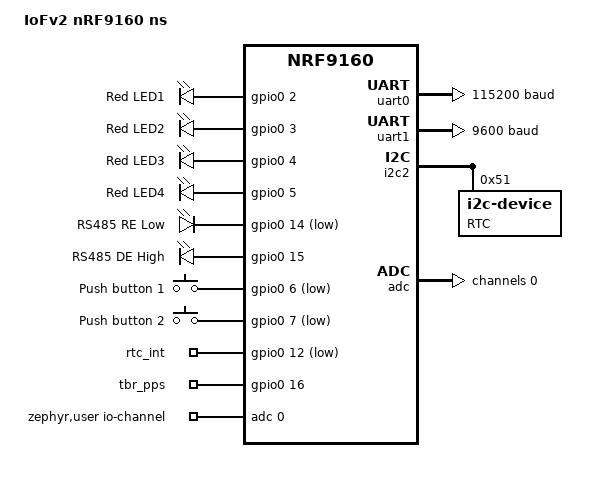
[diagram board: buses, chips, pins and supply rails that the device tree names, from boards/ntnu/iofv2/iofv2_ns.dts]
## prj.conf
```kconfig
# Logging

# Core logging
CONFIG_LOG=y
CONFIG_CONSOLE=y
CONFIG_RTT_CONSOLE=n
CONFIG_PRINTK=y
CONFIG_LOG_DEFAULT_LEVEL=3

# Route logs to SEGGER RTT or UART
CONFIG_USE_SEGGER_RTT=n
CONFIG_LOG_BACKEND_RTT=n

# UART logs 
CONFIG_LOG_BACKEND_UART=y
CONFIG_UART_CONSOLE=y

# Turn serial into modem at command bridge (enable AT commands from serial terminal)
CONFIG_AT_HOST_LIBRARY=y


#
## # Button and LED support
#CONFIG_DK_LIBRARY=y

# Newlib
CONFIG_NEWLIB_LIBC=y

# Networking
CONFIG_NETWORKING=y
CONFIG_NET_NATIVE=n
CONFIG_NET_SOCKETS=y
CONFIG_NET_SOCKETS_OFFLOAD=y
CONFIG_POSIX_API=y

# Memory
CONFIG_MAIN_STACK_SIZE=8192
CONFIG_HEAP_MEM_POOL_SIZE=4096
CONFIG_THREAD_NAME=y
CONFIG_SYSTEM_WORKQUEUE_STACK_SIZE=4096

#i2c
CONFIG_I2C=y

# Modem library
CONFIG_NRF_MODEM_LIB=y

# LTE link control
CONFIG_LTE_LINK_CONTROL=y
CONFIG_LTE_NETWORK_MODE_LTE_M_NBIOT_GPS=y 

# MQTT
CONFIG_MQTT_LIB=y
CONFIG_MQTT_CLEAN_SESSION=y
#secure MQTT
CONFIG_MQTT_LIB_TLS=y
CONFIG_MODEM_KEY_MGMT=y

# Application
CONFIG_MQTT_PUB_TOPIC="p/IoF_demo"
CONFIG_MQTT_SUB_TOPIC="s/IoF_demo"
CONFIG_MQTT_BROKER_HOSTNAME="mqtt.nordicsemi.academy"
CONFIG_MQTT_BROKER_PORT=8883

# Request PSM periodic TAU and active time
CONFIG_LTE_LC_PSM_MODULE=y
CONFIG_LTE_PSM_REQ=y
CONFIG_LTE_PSM_REQ_RPTAU="00100010" #2hours
CONFIG_LTE_PSM_REQ_RAT="00000010" #4seconds
CONFIG_LTE_LC_MODEM_SLEEP_MODULE=y


## Enable the modem’s network mode for GPS
##########################CONFIG_LTE_NETWORK_MODE_LTE_M_NBIOT_GPS=y #defaults to LTE_M as priority
CONFIG_GNSS_PERIODIC_INTERVAL=140
CONFIG_GNSS_PERIODIC_TIMEOUT=3600
##enable printing floating-point numbers to console.
CONFIG_NEWLIB_LIBC_FLOAT_PRINTF=y
CONFIG_FPU=y

#CHAT
CONFIG_CBPRINTF_FP_SUPPORT=y

# GNSS Antenna
CONFIG_MODEM_ANTENNA=y
CONFIG_MODEM_ANTENNA_AT_COEX0="AT\%XCOEX0=1,1,1570,1580"

# enable AGNSS
CONFIG_NRF_CLOUD=y
CONFIG_MODEM_INFO=y
CONFIG_MODEM_INFO_ADD_NETWORK=y
CONFIG_NRF_CLOUD_AGNSS=y
CONFIG_NRF_CLOUD_REST=y
CONFIG_MODEM_JWT=y
CONFIG_NRF_CLOUD_REST_AUTOGEN_JWT=n

# Select Cloud Client ID. UUID is not used because the device is already added to nrf cloud by a previous user. (and a device can only be registered by one user at a time)
#CONFIG_NRF_CLOUD_CLIENT_ID_SRC_IMEI=n
#CONFIG_NRF_CLOUD_CLIENT_ID_SRC_INTERNAL_UUID=y # Not used but reccomended for new/unregistred devices.
CONFIG_NRF_CLOUD_CLIENT_ID_SRC_COMPILE_TIME=y   # Uses iof-nb-buoy-01 ad ID instead of UUID
CONFIG_NRF_CLOUD_CLIENT_ID="iof-nb-buoy-01"     # The ID registred to nrf Cloud
CONFIG_NRF_CLOUD_SEC_TAG=16842753


CONFIG_NRF_CLOUD_GPS_LOG_LEVEL_DBG=y
CONFIG_NRF_CLOUD_LOG_LEVEL_DBG=y
CONFIG_DATE_TIME=y
CONFIG_DATE_TIME_MODEM=y
CONFIG_DATE_TIME_NTP=y

# TODO: chat want to add this: CONFIG_NET_SOCKETS_SOCKOPT_TLS=y
# and this:  CONFIG_TLS_CREDENTIALS=y



##DEBUG
#CONFIG_DEBUG_OPTIMIZATIONS=y
#CONFIG_DEBUG_THREAD_INFO=y
#
CONFIG_SERIAL=y
CONFIG_UART_INTERRUPT_DRIVEN=y

CONFIG_ADC=y

#CONFIG_SYS_HEAP_RUNTIME_STATS=y



CONFIG_BOOT_BANNER=n
CONFIG_REBOOT=y


#CONFIG_HWINFO=y
#CONFIG_WATCHDOG=y

CONFIG_NRF_MODEM_LIB_ON_FAULT_APPLICATION_SPECIFIC=y
## CONFIG_NRF_MODEM_LIB_ON_FAULT_RESET_MODEM=y


#CONFIG_THREAD_ANALYZER=y
#CONFIG_THREAD_ANALYZER_AUTO=y

CONFIG_PM_DEVICE=y
## CONFIG_PM_DEVICE_SYSTEM_MANAGED=y
#CONFIG_LOG_BUFFER_SIZE=10240
```

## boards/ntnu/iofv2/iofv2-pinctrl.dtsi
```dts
&pinctrl {


	uart0_default: uart0_default {
		group1 {
			psels = <NRF_PSEL(UART_TX, 0, 29)>;
		};
        group2 {
            psels = <NRF_PSEL(UART_RX, 0, 28)>;
        };

	};
	/* required if CONFIG_PM_DEVICE=y */
	uart0_sleep: uart0_sleep {
		group1 {
			psels = <NRF_PSEL(UART_TX, 0, 29)>,
					<NRF_PSEL(UART_RX, 0, 28)>;
			low-power-enable;
		};
	};

	uart1_default: uart1_default {
		group1 {
			psels = <NRF_PSEL(UART_TX, 0, 1)>;
		};
        group2 {
            psels = <NRF_PSEL(UART_RX, 0, 0)>;
        };
	};

	uart1_sleep: uart1_sleep {
		group1 {
			psels = <NRF_PSEL(UART_TX, 0, 1)>,
					<NRF_PSEL(UART_RX, 0, 0)>;
			low-power-enable;
		};
	};

	i2c2_default: i2c2_default {
		group1 {
			psels = <NRF_PSEL(TWIM_SCL, 0, 31)>, <NRF_PSEL(TWIM_SDA, 0, 30)>;
		};
	};

	i2c2_sleep: i2c2_sleep {
		group1 {
			psels = <NRF_PSEL(TWIM_SCL, 0, 31)>, 
					<NRF_PSEL(TWIM_SDA, 0, 30)>;
			low-power-enable;
		};
	};
};
```

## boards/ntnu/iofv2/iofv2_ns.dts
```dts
/dts-v1/;
#include <nordic/nrf9160ns_sica.dtsi>
#include "iofv2-pinctrl.dtsi"
/ {
	model = "IoFv2 nRF9160 ns";
	compatible = "ntnu-cybernetics,iofv2-nrf9160-ns";

	chosen {
		zephyr,flash = &flash0;
		zephyr,console = &uart0;
		zephyr,shell-uart = &uart0;
		zephyr,uart-mcumgr = &uart0;
	};

	leds {
		compatible = "gpio-leds";
		led1: led_1 {
			gpios = <&gpio0 2 0>;
			label = "Red LED1";
		};

		led2: led_2 {
			gpios = <&gpio0 3 0>;
			label = "Red LED2";
		};

		led3: led_3 {
			gpios = <&gpio0 4 0>;
			label = "Red LED3";
		};

		led4: led_4 {
			gpios = <&gpio0 5 0>;
			label = "Red LED4";
		};
	};

	rs485_ctrl: rs485_ctrl { 
		compatible = "gpio-leds"; 
		re_low_pin: re_low_pin { 
			gpios = <&gpio0 14 (GPIO_ACTIVE_LOW | GPIO_PULL_UP)>; 
			label = "RS485 RE Low"; 
		}; 
		de_high_pin: de_high_pin { 
			gpios = <&gpio0 15 (GPIO_ACTIVE_HIGH | GPIO_PULL_DOWN)>; 
			label = "RS485 DE High"; 
		}; 
	};

	buttons {
		compatible = "gpio-keys";
		button1: button_1 {
			gpios = <&gpio0 6 (GPIO_ACTIVE_LOW | GPIO_PULL_UP)>;
			label = "Push button 1";
		};

		button2: button_2 {
			gpios = <&gpio0 7 (GPIO_ACTIVE_LOW | GPIO_PULL_UP)>;
			label = "Push button 2";
		};
	};

	rtc {
		compatible = "gpio-keys";
		rtc_int: rtc_int_pin {
			gpios = <&gpio0 12 GPIO_ACTIVE_LOW>;
			label = "rtc_int";
    	};

		tbr_pps: tbr_pps_pin {
			gpios = <&gpio0 16 GPIO_ACTIVE_HIGH>;	// TODO: double check if active high or low!
			label = "tbr_pps";
		};

	};



	aliases {
		led0 = &led1;
		led1 = &led2;
		led2 = &led3;
		led3 = &led4;
		sw0  = &button1;
		sw1  = &button2;
		dehighpin = &de_high_pin;
		relowpin = &re_low_pin;
		bootloader-led0 = &led1;
		mcuboot-button0 = &button1;
		mcuboot-led0 = &led1;
		watchdog0 = &wdt0;
		nintpinlow = &rtc_int;
        tbrppspin  = &tbr_pps;
	};

	zephyr,user {
		io-channels = <&adc 0>;
	};
};

// TODO Look at partition and MCUboot. Is static partition needed? Is it possible to update code thorugh USB instead of SEGGER? 

&gpio0 {
	status = "okay";
};

&gpiote {
	status = "okay";
};


&uart0 {
	status = "okay";
	pinctrl-0 = <&uart0_default>;
	pinctrl-1 = <&uart0_sleep>;
	pinctrl-names = "default", "sleep";
	current-speed = <115200>;
	label = "USB Uart debug";
};

&uart1 {
	status = "okay";
	pinctrl-0 = <&uart1_default>;
	pinctrl-1 = <&uart1_sleep>;
	pinctrl-names = "default", "sleep";
	current-speed = <9600>;
	parity = "none";
	/* Flow control is off by default; keep 8N1 as per TBR Live docs. */
};

&i2c2 {
	status = "okay";
	pinctrl-0 = <&i2c2_default>;
	pinctrl-1 = <&i2c2_sleep>;
	pinctrl-names = "default", "sleep";
	label = "I2C RTC RV3032";

	rv3032: rv3032@51{
        compatible = "i2c-device";
        reg = < 0x51 >;
        label = "RTC";
    };
};

&adc {
	#address-cells = <1>;
	#size-cells = <0>;
	status = "okay";
	channel@0 {
		reg = <0>;
		zephyr,gain = "ADC_GAIN_1_6";
		zephyr,reference = "ADC_REF_INTERNAL";
		zephyr,acquisition-time = <ADC_ACQ_TIME_DEFAULT>;
		zephyr,input-positive = <NRF_SAADC_AIN0>; /* P0.13 */
		zephyr,resolution = <12>;
	};
};
```

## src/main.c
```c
/*
* FishIoT Main Application
* MCU:nRF9160
*
* Author: Tsotne Karchava
* Created: 10.10.2023
*/
#include <nrf_modem_at.h>
#include <zephyr/logging/log.h>
#include <zephyr/kernel.h>
#include <date_time.h>
#include <zephyr/sys/reboot.h>
//LTE
#include <modem/nrf_modem_lib.h>
#include <modem/lte_lc.h>

#include "leds.h"
#include "adc.h"
#include "rtc.h"
#include "structs.h"
#include "rs485_task.h"
#include "mqtt_task.h"
#include "gnss_task.h"
#include "rtc_task.h"
#include "tbr_sync_task.h"
//// #include <zephyr/debug/thread_analyzer.h>

#define STACKSIZE 2048
#define MQTT_THREAD_PRIORITY 9
#define RTC_THREAD_PRIORITY 7
#define RS485_THREAD_PRIORITY 6
#define GNSS_THREAD_PRIORITY 8
#define TBR_SYNC_THREAD_PRIORITY 5
#define GNSS_START_PERIOD_THREAD_PRIORITY 4

//fault handling
#define MODEM_FAULT_THREAD_PRIORITY 2

bool RTC_TIME_SET = false;


LOG_MODULE_REGISTER(FishIoT, LOG_LEVEL_INF);

K_MSGQ_DEFINE(IoFHEADER_MSG, sizeof(IoF_header), 32, sizeof(uint32_t));
K_MSGQ_DEFINE(IoFTBR_Status_MSG, sizeof(IoF_TBR_status), 16, sizeof(uint32_t));
K_MSGQ_DEFINE(IoFTBR_TAG_MSG, sizeof(IoF_TBR_tag), 16, sizeof(uint32_t));
K_MSGQ_DEFINE(IoFBuoy_Status_MSG, sizeof(IoF_bouy_status), 16, sizeof(uint32_t));


//semaphores
K_SEM_DEFINE(modem_fault_sem, 0, 1);
static K_SEM_DEFINE(lte_connected, 0, 1);
static K_SEM_DEFINE(time_sem, 0, 1);
static K_SEM_DEFINE(time_read_sem, 0, 1);

K_SEM_DEFINE(gnss_start_sem, 0, 1);

// K_SEM_DEFINE(rtc_write_fix_sem, 0, 1);
K_SEM_DEFINE(rtc_esyn_sem, 0, 1);

K_SEM_DEFINE(gnss_thread_sem, 0 , 1);

K_SEM_DEFINE(mqtt_pub_sem, 0, 1);
K_SEM_DEFINE(mqtt_pub_thread_start, 0, 1);
K_SEM_DEFINE(mqtt_pub_done_sem, 0, 1);

//fault
K_SEM_DEFINE(block_mqtt_on_fault_sem, 0, 1);


K_SEM_DEFINE(mqtt_lock_mutex, 0, 1);
K_SEM_DEFINE(gnss_lock_mutex, 0, 1);
uint16_t TBSN; //tbr serial number

//thread definitions
K_THREAD_STACK_DEFINE(mqtt_thread_id, STACKSIZE);
K_THREAD_STACK_DEFINE(rtc_thread_id, STACKSIZE);
K_THREAD_STACK_DEFINE(rs485_thread_id, STACKSIZE);
K_THREAD_STACK_DEFINE(gnss_thread_id, STACKSIZE);
K_THREAD_STACK_DEFINE(tbr_sync_thread_id, STACKSIZE/2);
K_THREAD_STACK_DEFINE(gnss_start_period_thread_id, STACKSIZE/4);

//fault hanlding
K_THREAD_STACK_DEFINE(modem_fault_thread_id, STACKSIZE);



struct k_thread mqtt_pub_thread_struct;
struct k_thread rtc_thread_struct;
struct k_thread rs485_thread_struct;
struct k_thread gnss_thread_struct;
struct k_thread tbr_sync_thread_struct;
struct k_thread gnss_start_period_thread_struct;

//fault hanlding
struct k_thread modem_fault_thread_struct;


k_tid_t rtc_thread_tid;
k_tid_t gnss_thread_tid;
k_tid_t mqtt_thread_tid;
k_tid_t tbr_sync_thread_tid;
k_tid_t gnss_start_period_thread_tid;


static void date_time_evt_handler(const struct date_time_evt *evt)
{
	k_sem_give(&time_sem);
}

static void lte_handler(const struct lte_lc_evt *const evt)
{
     switch (evt->type) {
     case LTE_LC_EVT_NW_REG_STATUS:
        if ((evt->nw_reg_status != LTE_LC_NW_REG_REGISTERED_HOME) &&
            (evt->nw_reg_status != LTE_LC_NW_REG_REGISTERED_ROAMING)) {
            break;
        }
		LOG_INF("Network registration status: %s",
				evt->nw_reg_status == LTE_LC_NW_REG_REGISTERED_HOME ?
				"Connected - home network" : "Connected - roaming");
		k_sem_give(&lte_connected);
        break;
	case LTE_LC_EVT_RRC_UPDATE:
		LOG_INF("RRC mode: %s", evt->rrc_mode == LTE_LC_RRC_MODE_CONNECTED ?
				"Connected" : "Idle");
		if(evt->rrc_mode == LTE_LC_RRC_MODE_IDLE){
			if(!first_fix)
				k_sem_give(&gnss_start_sem);
			k_sem_give(&gnss_lock_mutex);
			// k_sem_give(&mqtt_lock_mutex);
		}
		break;
	case LTE_LC_EVT_PSM_UPDATE:
		LOG_INF("PSM parameter update: TAU: %d, Active time: %d",
			evt->psm_cfg.tau, evt->psm_cfg.active_time);
		if (evt->psm_cfg.active_time == -1){
			LOG_ERR("Network rejected PSM parameters. Failed to enable PSM");
		}	
		break;
	case LTE_LC_EVT_MODEM_SLEEP_EXIT:
		LOG_INF("Modem exited from sleep.");
		break;
	case LTE_LC_EVT_MODEM_SLEEP_ENTER:
		LOG_INF("Modem entered sleep.");
		break;
     default:
        break;
     }
}

bool modem_fault = false;

static void restart_on_fault(void *p1, void *p2, void *p3)
{
	while(true)
	{
		k_sem_take(&modem_fault_sem, K_FOREVER);
		//thread_analyzer_print();
	  	//sys_reboot(SYS_REBOOT_COLD);
       //  k_yield();
		LOG_ERR("REINITALIZING MODEM!\n");
		(void)nrf_modem_lib_shutdown();
        LOG_INF("MODEM SHUTDOWN OK\n");
		k_sleep(K_MSEC(500));

		int err = nrf_modem_lib_init();
	    if (err) {
		LOG_ERR("failed to initialize modem library, error: %d", err);
		}

        // LOG_INF("MODEM INIT OK\n");
		// /* lte_lc_init deprecated in >= v2.6.0 */
		// #if NCS_VERSION_NUMBER < 0x20600
		// err = lte_lc_init();
		// if (err) {
		// 	LOG_ERR("Failed to initialize LTE link control library, error: %d", err);
		// }
		// #endif
        // LOG_INF("MODEM LC INIT OK\n");
		// //enable PSM
		// err = lte_lc_psm_req(true);
		// if (err) {
		// 	LOG_ERR("lte_lc_psm_req, error: %d", err);
		// }

		// LOG_INF("Connecting to LTE network");

		// // lte_lc_register_handler(lte_handler);

		// if (lte_lc_connect() != 0) {
		// 	LED_ERROR_CODE(LTE_NETWORK_CONNECT_ERROR);
		// 	LOG_ERR("Failed to connect to LTE network");
		// }

		// if (lte_lc_func_mode_set(LTE_LC_FUNC_MODE_NORMAL) != 0) {
		// LOG_ERR("Failed to activate GNSS functional mode");
		// }

		k_sem_give(&block_mqtt_on_fault_sem);
	}
}

void nrf_modem_fault_handler(struct nrf_modem_fault_info *fault_info){
	LOG_ERR("NRFMODEM FAULT HANDLER, ERROR: %d\n", fault_info->reason);
	//restart the modem
	if(fault_info->reason == NRF_MODEM_FAULT_PANIC)
	{
		modem_fault = true;
		k_sem_give(&modem_fault_sem);
	}
}

static int modem_configure(void)
{
	int err;

	LOG_INF("Initializing modem library");
	
	err = nrf_modem_lib_init();
	if (err) {
		LOG_ERR("Failed to initialize the modem library, error: %d", err);
		return err;
	}

	
	#if(CONFIG_MQTT_LIB_TLS)
	/*  Store the certificate in the modem while the modem is in offline mode  */
	err = certificate_provision();
	if (err != 0) {
		LOG_ERR("Failed to provision certificates");
		return 1;
	}
	#endif

	//enable PSM
	err = lte_lc_psm_req(true);
	if (err) {
		LOG_ERR("lte_lc_psm_req, error: %d", err);
	}

	LOG_INF("Connecting to LTE network");

	lte_lc_register_handler(lte_handler);

	if (lte_lc_connect() != 0) {
		LED_ERROR_CODE(LTE_NETWORK_CONNECT_ERROR);
		LOG_ERR("Failed to connect to LTE network");
		return 1;
	}

	LOG_INF("Connected to LTE network");
	err = date_time_update_async(date_time_evt_handler);
	if(err){
		LOG_ERR("Date time update handler failed");
	}	
	LOG_INF("Waiting for current time");	
	/* Wait for an event from the Date Time library. */
	k_sem_take(&time_sem, K_MINUTES(1));
		
	if (!date_time_is_valid()) {
		LOG_WRN("Failed to get current time, continuing anyway");
		//date time couldn't be receieved under 1 minute or it is wrong.
	}

	LOG_INF("Received current time successfully!");
	return 0;
}


// void thread_analyzer_cb(struct thread_analyzer_info *info){
	
// }



int main(void)
{
	int err;
	
  	// thread_analyzer_run(thread_analyzer_cb);
	// thread_analyzer_print();
	LOG_INF("Starting Application IoF...\n");
	// k_mutex_lock(&mqtt_lock_mutex, K_FOREVER);	
	if(led_button_init() != 0){
		LOG_ERR("Failed to initialize LED and Buttons");
		return 1;
	}
	
	if(rtc_init()!=0){
		LOG_ERR("Failed to initialize RTC\n");
		LED_ERROR_CODE(RTC_INIT_ERROR);
		LOG_INF("Waiting for 1 minute before restarting the chip\n");
		k_busy_wait(1*1000*1000*60);
		sys_reboot(SYS_REBOOT_COLD);
		return 1;
	}
	
	if(adc_init()!=0){
		LOG_ERR("Failed to initialize ADC");
		LED_ERROR_CODE(ADC_INIT_ERROR);
		LOG_INF("Waiting for 1 minute before restarting the chip\n");
		k_busy_wait(1*1000*1000*60);
		sys_reboot(SYS_REBOOT_COLD);
		return 1;
	}

	LOG_INF("Enabling modem...\n");
	err = modem_configure();
	if (err) {
		LOG_ERR("Failed to configure the modem");
		LOG_INF("Waiting for 1 minute before restarting the chip\n");
		k_busy_wait(1*1000*1000*60);
		sys_reboot(SYS_REBOOT_WARM);
		return 1;
	}

	// k_sem_give(&mqtt_pub_thread_start);
	mqtt_thread_tid = k_thread_create(&mqtt_pub_thread_struct, mqtt_thread_id, K_THREAD_STACK_SIZEOF(mqtt_thread_id), mqtt_thread, NULL,NULL,NULL, MQTT_THREAD_PRIORITY, 0, K_NO_WAIT);

	err = rs485_init();
	if(err){
		LOG_ERR("Failed to initialize RS485 - TBRLIVE");
		LED_ERROR_CODE(RS485_INIT_ERROR);
		LOG_INF("Waiting for 1 minute before restarting the chip\n");
		k_busy_wait(1*1000*1000*60);
		sys_reboot(SYS_REBOOT_COLD);
		return 1;
	}
	
	//if Time is valid then update TBR live enoch time.
	uint64_t unix_time_ms;
	/*Read current time and put in container */
	err = date_time_now(&unix_time_ms);
	//write enoch time to TBRLive
	err = rs485_updatetime(unix_time_ms);
	if(err != 0){
		LOG_ERR("Couldn't update RS485 time...\n");
	}	
	
	err = gnss_task_agps_process_start();
	if (err != 0)
	{
		LOG_INF("Waiting for 1 minute before restarting the chip\n");
		k_busy_wait(1*1000*1000*60);
 		sys_reboot(SYS_REBOOT_COLD);
	}
	
	//fault handling
	k_tid_t modem_fault_tid = k_thread_create(&modem_fault_thread_struct, modem_fault_thread_id, K_THREAD_STACK_SIZEOF(modem_fault_thread_id), restart_on_fault, NULL,NULL,NULL, MODEM_FAULT_THREAD_PRIORITY, 0, K_NO_WAIT);


	rtc_thread_tid = k_thread_create(&rtc_thread_struct, rtc_thread_id, K_THREAD_STACK_SIZEOF(rtc_thread_id), rtc_thread, NULL,NULL,NULL, RTC_THREAD_PRIORITY, 0, K_FOREVER);

	gnss_thread_tid = k_thread_create(&gnss_thread_struct, gnss_thread_id, K_THREAD_STACK_SIZEOF(gnss_thread_id), gnss_thread, NULL,NULL,NULL, GNSS_THREAD_PRIORITY, 0, K_FOREVER);

	k_tid_t rs485_thread_tid = k_thread_create(&rs485_thread_struct, rs485_thread_id, K_THREAD_STACK_SIZEOF(rs485_thread_id), rs485_thread, NULL,NULL,NULL, RS485_THREAD_PRIORITY, 0, K_NO_WAIT);
	tbr_sync_thread_tid = k_thread_create(&tbr_sync_thread_struct, tbr_sync_thread_id, K_THREAD_STACK_SIZEOF(tbr_sync_thread_id), tbr_sync_thread, NULL,NULL,NULL, TBR_SYNC_THREAD_PRIORITY, 0, K_FOREVER);
	
	gnss_start_period_thread_tid = k_thread_create(&gnss_start_period_thread_struct, gnss_start_period_thread_id, K_THREAD_STACK_SIZEOF(gnss_start_period_thread_id), gnss_start_period_thread, NULL,NULL,NULL, GNSS_START_PERIOD_THREAD_PRIORITY, 0, K_FOREVER);



	
	return 0;
}
```
